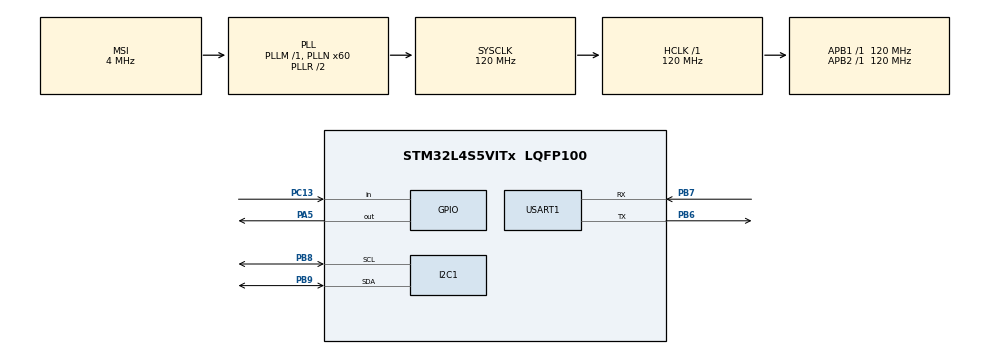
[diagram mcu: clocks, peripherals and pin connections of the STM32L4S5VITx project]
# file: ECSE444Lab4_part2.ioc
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FREERTOS.Tasks01=defaultTask,0,128,StartDefaultTask,Default,NULL,Dynamic,NULL,NULL
FREERTOS.configUSE_NEWLIB_REENTRANT=0
I2C1.Timing=0x307075B1
Mcu.Family=STM32L4
Mcu.Name=STM32L4S5VITx
Mcu.Package=LQFP100
NVIC.PriorityGroup=NVIC_PRIORITYGROUP_4
NVIC.TIM6_DAC_IRQn=true\:15\:0\:false\:false\:true\:false\:false\:true\:true
NVIC.TimeBase=TIM6_DAC_IRQn
NVIC.TimeBaseIP=TIM6
PA5.Signal=GPIO_Output
PB6.Mode=Asynchronous
PB6.Signal=USART1_TX
PB7.Mode=Asynchronous
PB7.Signal=USART1_RX
PB8.Mode=I2C
PB8.Signal=I2C1_SCL
PB9.Mode=I2C
PB9.Signal=I2C1_SDA
PC13.Signal=GPIO_Input
ProjectManager.HeapSize=0x200
ProjectManager.StackSize=0x400
ProjectManager.TargetToolchain=STM32CubeIDE
RCC.ADCFreq_Value=48000000
RCC.AHBFreq_Value=120000000
RCC.APB1Freq_Value=120000000
RCC.APB1TimFreq_Value=120000000
RCC.APB2Freq_Value=120000000
RCC.APB2TimFreq_Value=120000000
RCC.CortexFreq_Value=120000000
RCC.HCLKFreq_Value=120000000
RCC.HSE_VALUE=8000000
RCC.HSI48_VALUE=48000000
RCC.HSI_VALUE=16000000
RCC.LSE_VALUE=32768
RCC.MSI_VALUE=4000000
RCC.PLLN=60
RCC.PLLSAI1N=24
RCC.SYSCLKFreq_VALUE=120000000
RCC.SYSCLKSource=RCC_SYSCLKSOURCE_PLLCLK
RCC.USBFreq_Value=48000000
RCC.VCOOutputFreq_Value=240000000
USART1.VirtualMode-Asynchronous=VM_ASYNC
VP_FREERTOS_VS_CMSIS_V1.Mode=CMSIS_V1
VP_SYS_VS_tim6.Mode=TIM6
board=B-L4S5I-IOT01A

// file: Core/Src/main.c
/* USER CODE BEGIN Header */
/**
  ******************************************************************************
  * @file           : main.c
  * @brief          : Main program body
  ******************************************************************************
  * @attention
  *
  * Copyright (c) 2024 STMicroelectronics.
  * All rights reserved.
  *
  * This software is licensed under terms that can be found in the LICENSE file
  * in the root directory of this software component.
  * If no LICENSE file comes with this software, it is provided AS-IS.
  *
  ******************************************************************************
  */
/* USER CODE END Header */
#include "main.h"
#include "cmsis_os.h"

/* USER CODE BEGIN Includes */
#include <math.h>
#include <stdio.h>
#include <stdbool.h>
#include "stm32l4s5i_iot01.h"
#include "stm32l4s5i_iot01_tsensor.h"
#include "stm32l4s5i_iot01_hsensor.h"
#include "stm32l4s5i_iot01_accelero.h"
#include "stm32l4s5i_iot01_gyro.h"
#include "stm32l4s5i_iot01_psensor.h"
#include "stm32l4s5i_iot01_magneto.h"
/* USER CODE END Includes */

/* USER CODE BEGIN PTD */
#ifdef __GNUC__
#define PUTCHAR_PROTO int __io_putchar(int ch)
#else
#define PUTCHAR_PROTO int fputc(int ch, FILE *f)
#endif
/* USER CODE END PTD */

I2C_HandleTypeDef hi2c1;

UART_HandleTypeDef huart1;

osThreadId defaultTaskHandle;

void SystemClock_Config(void);
static void MX_GPIO_Init(void);
static void MX_I2C1_Init(void);
static void MX_USART1_UART_Init(void);
void StartDefaultTask(void const * argument);

/* USER CODE BEGIN 0 */

static uint8_t msg1[] = "______ Multiple Sensor value measurement Tian/Kai ______\n\n\r";
static uint8_t msg2[] = "======> Initializing Sensors\r\n\n";
static uint8_t msg3[] = "======> Sensors initialized!\r\n\n";
static bool not_Pressed = false;
static bool Sensor_Change_Cooldown = false; //recent sensor change
//const static uint8_t App_Modes[6] = {"T","H","A","G","P","M"};//sensor list with capital initials
static uint8_t current_mode;
static uint8_t running_mode;

float temp_buff = 0;
float hum_buff = 0;
float pressure_buff = 0;

static int16_t pAcceloData[3] ;
static int16_t pMagData[3] ;
float pGyroData[3] ;
static uint8_t str_buff[50] = "";
//uint8_t str_test[100] = "";

PUTCHAR_PROTO
{
  HAL_UART_Transmit(&huart1, (uint8_t *)&ch, 1, HAL_MAX_DELAY);
  return ch;
}

void Button_Click_Poll(){
	for(;;){
		osDelay(5);
		//snprintf(str_test,100,"ID1 %d\n\r",(uint8_t)Sensor_Change_Cooldown);
		//HAL_UART_Transmit(&huart1, str_test,100,HAL_MAX_DELAY);
		//str_test[0] = (char)HAL_GPIO_ReadPin(GPIOC,GPIO_PIN_13);//button
		//HAL_UART_Transmit(&huart1, str_test,1,HAL_MAX_DELAY);
		not_Pressed = HAL_GPIO_ReadPin(GPIOC,GPIO_PIN_13);
		if(!not_Pressed&&(!Sensor_Change_Cooldown)){
			HAL_GPIO_TogglePin(GPIOA,GPIO_PIN_5);//toggle led
			Sensor_Change_Cooldown = true;
			switch(current_mode){
				case 'T': //T
					current_mode = (uint8_t)'H';
					break;
				case 'H': //H
					current_mode = (uint8_t)'A';
					break;
				case 'A': //A
					current_mode = (uint8_t)'G';
					break;
				case 'G': //G
					current_mode = (uint8_t)'P';
					break;
				case 'P':
					current_mode = (uint8_t)'M';
					break;
				case 'M':
					current_mode = (uint8_t)'T';
					break;
			}
		}
	}
}

void Flag_Reset(){
	for(;;){
		osDelay(10);
		//snprintf(str_test,100,"ID2\n\r");
		//HAL_UART_Transmit(&huart1, str_test,1,HAL_MAX_DELAY);
		if(Sensor_Change_Cooldown){
			osDelay(500);
			Sensor_Change_Cooldown = false;
		}
	}
}

void Sensor_SW_Poll(){
	for(;;){
		osDelay(100);
		//snprintf(str_test,100,"ID3\n\r%d\n\r",(int)Sensor_Change_Cooldown);
		//HAL_UART_Transmit(&huart1, str_test,100,HAL_MAX_DELAY);
		//HAL_UART_Transmit(&huart1, &current_mode,1,HAL_MAX_DELAY);
		if((!Sensor_Change_Cooldown)&&(current_mode != running_mode)){
			running_mode = current_mode;
		}
		switch(running_mode){
			case 'T':
				temp_buff = BSP_TSENSOR_ReadTemp();
				break;
			case 'H':
				hum_buff = BSP_HSENSOR_ReadHumidity();
				break;
			case 'A':
				BSP_ACCELERO_AccGetXYZ(pAcceloData);
				break;
			case 'G':
				BSP_GYRO_GetXYZ(pGyroData);
				break;
			case 'P':
				pressure_buff =  BSP_PSENSOR_ReadPressure();
				break;
			case 'M':
				BSP_MAGNETO_GetXYZ(pMagData);
				break;
		}
	}
}

void UART_Print_Data(){
	for(;;){
		osDelay(1000);
		//snprintf(str_test,100,"ID4\n\r");
		//HAL_UART_Transmit(&huart1, str_test,100,HAL_MAX_DELAY);
			switch(running_mode){
				case 'T':
					snprintf((char*)str_buff,50,"Temperature = %d.%02d       \n\r",(int)temp_buff, (int)((temp_buff-(int)temp_buff)*100));
					HAL_UART_Transmit(&huart1, str_buff,50,HAL_MAX_DELAY);
					break;
				case 'H':
					snprintf((char*)str_buff,50,"Humidity = %d.%02d          \n\r",(int)hum_buff, (int)((hum_buff-(int)hum_buff)*100));
					HAL_UART_Transmit(&huart1, str_buff,50,HAL_MAX_DELAY);
					break;
				case 'A':
					snprintf((char*)str_buff,50,"Acceleration = (%d, %d, %d) \n\r",pAcceloData[0], pAcceloData[1],pAcceloData[2]);
					HAL_UART_Transmit(&huart1, str_buff,50,HAL_MAX_DELAY);
					break;
				case 'G':
					snprintf((char*)str_buff,50,"Gyro = (%d, %d, %d)         \n\r",(int)pGyroData[0], (int)pGyroData[1],(int)pGyroData[2]);
					HAL_UART_Transmit(&huart1, str_buff,50,HAL_MAX_DELAY);
					break;
				case 'P':
					snprintf((char*)str_buff,50,"Pressure = %d.%02d          \n\r",(int)pressure_buff, (int)((pressure_buff-(int)pressure_buff)*100));
					HAL_UART_Transmit(&huart1, str_buff,50,HAL_MAX_DELAY);
					break;
				case 'M':
					snprintf((char*)str_buff,50,"Mageneto = (%d, %d, %d)     \n\r",pMagData[0], pMagData[1],pMagData[2]);
					HAL_UART_Transmit(&huart1, str_buff,50,HAL_MAX_DELAY);
					break;

		}
	}
}

osThreadId id1_handle,id2_handle,id3_handle,id4_handle;

osThreadDef(id1, Button_Click_Poll, osPriorityAboveNormal,1,128);
osThreadDef(id2, Flag_Reset, osPriorityNormal,1,128);
osThreadDef(id3, Sensor_SW_Poll, osPriorityAboveNormal,1,128);
osThreadDef(id4, UART_Print_Data, osPriorityAboveNormal,1,256);

/* USER CODE END 0 */

int main(void)
{

  /* MCU Configuration--------------------------------------------------------*/

  /* Reset of all peripherals, Initializes the Flash interface and the Systick. */
  HAL_Init();

  /* Configure the system clock */
  SystemClock_Config();

  /* Initialize all configured peripherals */
  MX_GPIO_Init();
  MX_I2C1_Init();
  MX_USART1_UART_Init();
  /* USER CODE BEGIN 2 */
  printf((char*)msg1);
  printf((char*)msg2);
  BSP_HSENSOR_Init();
  BSP_TSENSOR_Init();
  BSP_ACCELERO_Init();
  BSP_GYRO_Init();
  BSP_PSENSOR_Init();
  BSP_MAGNETO_Init();
  current_mode = 'T';
  running_mode = ' ';
  printf((char*)msg3);
  /* USER CODE END 2 */

  /* Create the thread(s) */
  /* definition and creation of defaultTask */
  //osThreadDef(defaultTask, StartDefaultTask, osPriorityNormal, 0, 129);
  //defaultTaskHandle = osThreadCreate(osThread(defaultTask), NULL);

  /* USER CODE BEGIN RTOS_THREADS */
  /* add threads, ... */
  id1_handle = osThreadCreate(osThread(id1),NULL );
  id2_handle = osThreadCreate(osThread(id2),NULL );
  id3_handle = osThreadCreate(osThread(id3),NULL );
  id4_handle = osThreadCreate(osThread(id4),NULL );
  if(id1_handle==NULL)printf("ID1 creation failed/n/r");
  if(id2_handle==NULL)printf("ID2 creation failed/n/r");
  if(id3_handle==NULL)printf("ID3 creation failed/n/r");
  if(id4_handle==NULL)printf("ID4 creation failed/n/r");
  /* USER CODE END RTOS_THREADS */

  /* Start scheduler */
  osKernelStart();

  /* We should never get here as control is now taken by the scheduler */

  /* Infinite loop */
  while (1)
  {

  }
}

void SystemClock_Config(void)
{
  RCC_OscInitTypeDef RCC_OscInitStruct = {0};
  RCC_ClkInitTypeDef RCC_ClkInitStruct = {0};

  /** Configure the main internal regulator output voltage
  */
  if (HAL_PWREx_ControlVoltageScaling(PWR_REGULATOR_VOLTAGE_SCALE1_BOOST) != HAL_OK)
  {
    Error_Handler();
  }

  /** Initializes the RCC Oscillators according to the specified parameters
  * in the RCC_OscInitTypeDef structure.
  */
  RCC_OscInitStruct.OscillatorType = RCC_OSCILLATORTYPE_MSI;
  RCC_OscInitStruct.MSIState = RCC_MSI_ON;
  RCC_OscInitStruct.MSICalibrationValue = 0;
  RCC_OscInitStruct.MSIClockRange = RCC_MSIRANGE_6;
  RCC_OscInitStruct.PLL.PLLState = RCC_PLL_ON;
  RCC_OscInitStruct.PLL.PLLSource = RCC_PLLSOURCE_MSI;
  RCC_OscInitStruct.PLL.PLLM = 1;
  RCC_OscInitStruct.PLL.PLLN = 60;
  RCC_OscInitStruct.PLL.PLLP = RCC_PLLP_DIV2;
  RCC_OscInitStruct.PLL.PLLQ = RCC_PLLQ_DIV2;
  RCC_OscInitStruct.PLL.PLLR = RCC_PLLR_DIV2;
  if (HAL_RCC_OscConfig(&RCC_OscInitStruct) != HAL_OK)
  {
    Error_Handler();
  }

  /** Initializes the CPU, AHB and APB buses clocks
  */
  RCC_ClkInitStruct.ClockType = RCC_CLOCKTYPE_HCLK|RCC_CLOCKTYPE_SYSCLK
                              |RCC_CLOCKTYPE_PCLK1|RCC_CLOCKTYPE_PCLK2;
  RCC_ClkInitStruct.SYSCLKSource = RCC_SYSCLKSOURCE_PLLCLK;
  RCC_ClkInitStruct.AHBCLKDivider = RCC_SYSCLK_DIV1;
  RCC_ClkInitStruct.APB1CLKDivider = RCC_HCLK_DIV1;
  RCC_ClkInitStruct.APB2CLKDivider = RCC_HCLK_DIV1;

  if (HAL_RCC_ClockConfig(&RCC_ClkInitStruct, FLASH_LATENCY_5) != HAL_OK)
  {
    Error_Handler();
  }
}

static void MX_I2C1_Init(void)
{

  hi2c1.Instance = I2C1;
  hi2c1.Init.Timing = 0x307075B1;
  hi2c1.Init.OwnAddress1 = 0;
  hi2c1.Init.AddressingMode = I2C_ADDRESSINGMODE_7BIT;
  hi2c1.Init.DualAddressMode = I2C_DUALADDRESS_DISABLE;
  hi2c1.Init.OwnAddress2 = 0;
  hi2c1.Init.OwnAddress2Masks = I2C_OA2_NOMASK;
  hi2c1.Init.GeneralCallMode = I2C_GENERALCALL_DISABLE;
  hi2c1.Init.NoStretchMode = I2C_NOSTRETCH_DISABLE;
  if (HAL_I2C_Init(&hi2c1) != HAL_OK)
  {
    Error_Handler();
  }

  /** Configure Analogue filter
  */
  if (HAL_I2CEx_ConfigAnalogFilter(&hi2c1, I2C_ANALOGFILTER_ENABLE) != HAL_OK)
  {
    Error_Handler();
  }

  /** Configure Digital filter
  */
  if (HAL_I2CEx_ConfigDigitalFilter(&hi2c1, 0) != HAL_OK)
  {
    Error_Handler();
  }

}

static void MX_USART1_UART_Init(void)
{

  huart1.Instance = USART1;
  huart1.Init.BaudRate = 115200;
  huart1.Init.WordLength = UART_WORDLENGTH_8B;
  huart1.Init.StopBits = UART_STOPBITS_1;
  huart1.Init.Parity = UART_PARITY_NONE;
  huart1.Init.Mode = UART_MODE_TX_RX;
  huart1.Init.HwFlowCtl = UART_HWCONTROL_NONE;
  huart1.Init.OverSampling = UART_OVERSAMPLING_16;
  huart1.Init.OneBitSampling = UART_ONE_BIT_SAMPLE_DISABLE;
  huart1.Init.ClockPrescaler = UART_PRESCALER_DIV1;
  huart1.AdvancedInit.AdvFeatureInit = UART_ADVFEATURE_NO_INIT;
  if (HAL_UART_Init(&huart1) != HAL_OK)
  {
    Error_Handler();
  }
  if (HAL_UARTEx_SetTxFifoThreshold(&huart1, UART_TXFIFO_THRESHOLD_1_8) != HAL_OK)
  {
    Error_Handler();
  }
  if (HAL_UARTEx_SetRxFifoThreshold(&huart1, UART_RXFIFO_THRESHOLD_1_8) != HAL_OK)
  {
    Error_Handler();
  }
  if (HAL_UARTEx_DisableFifoMode(&huart1) != HAL_OK)
  {
    Error_Handler();
  }

}

static void MX_GPIO_Init(void)
{
  GPIO_InitTypeDef GPIO_InitStruct = {0};

  /* GPIO Ports Clock Enable */
  __HAL_RCC_GPIOC_CLK_ENABLE();
  __HAL_RCC_GPIOA_CLK_ENABLE();
  __HAL_RCC_GPIOB_CLK_ENABLE();

  /*Configure GPIO pin Output Level */
  HAL_GPIO_WritePin(GPIOA, GPIO_PIN_5, GPIO_PIN_RESET);

  /*Configure GPIO pin : PC13 */
  GPIO_InitStruct.Pin = GPIO_PIN_13;
  GPIO_InitStruct.Mode = GPIO_MODE_INPUT;
  GPIO_InitStruct.Pull = GPIO_NOPULL;
  HAL_GPIO_Init(GPIOC, &GPIO_InitStruct);

  /*Configure GPIO pin : PA5 */
  GPIO_InitStruct.Pin = GPIO_PIN_5;
  GPIO_InitStruct.Mode = GPIO_MODE_OUTPUT_PP;
  GPIO_InitStruct.Pull = GPIO_NOPULL;
  GPIO_InitStruct.Speed = GPIO_SPEED_FREQ_LOW;
  HAL_GPIO_Init(GPIOA, &GPIO_InitStruct);

}

void StartDefaultTask(void const * argument)
{
  for(;;)
  {
    osDelay(1);
  }
}

void HAL_TIM_PeriodElapsedCallback(TIM_HandleTypeDef *htim)
{
  if (htim->Instance == TIM6) {
    HAL_IncTick();
  }
}

void Error_Handler(void)
{
  __disable_irq();
  while (1)
  {
  }
}
